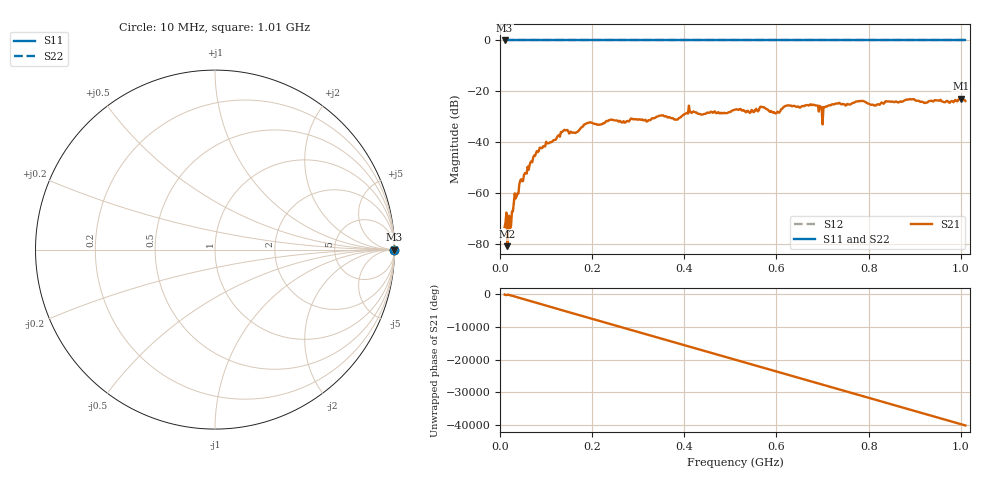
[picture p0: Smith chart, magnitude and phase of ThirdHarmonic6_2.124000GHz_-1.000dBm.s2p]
! 8/17/2025 1:23:29 AM
! C:\ANRITSUVNA\TEMP\TEMP.S2P
! CHANNEL.1
! TR.MEASUREMENT
! RAW.DATA
! RF.CORRECTION.OFF
! AVERAGING.OFF
! IF.BANDWIDTH: 5KHZ
! SWEEPTYPE:  FREQ.SWEEP(Linear)
! Reference Plane Port Info
! PORT:  PORT1  PORT2
! DISTANCE:  0  m  0  m
! TIME:  0  s  0  s
! PHASE.OFFSET:  0  deg.  0  deg.
! LOSS:  0  dB  0  dB
! REF.LOSS:  0  dB  0  dB
! REF.FREQ:  0  Hz  0  Hz
! Power Info
! POWER:  -20  dBm  -20  dBm
! EFF.POWER:  -20  dBm  -20  dBm
! SOURCE.ATTEN:  0  dB  0  dB
! TEST.ATTEN:  0  dB  0  dB
# GHZ S RI R 50.0
! FREQ.GHZ  S11RE  S11IM  S21RE  S21IM  S12RE  S12IM  S22RE  S22IM
!; PortSelection: Port_12
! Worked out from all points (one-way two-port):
!   501 points, 10 MHz to 1.01 GHz, reference 50 ohm
!   highest |S21| = -22.88 dB at 1 GHz (marker M1); lowest = -80.9 dB at 16 MHz (marker M2)
!   lowest |S11| = 0.0 dB at 10 MHz (marker M3)
!   |S11| at or under -10 dB: nowhere
!   |S22| runs from 0.0 to 0.0 dB; largest |S21 - S12| = 1.1
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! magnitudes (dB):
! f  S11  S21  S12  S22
! 10 MHz  0.0  -73.4  0.0  0.0
! 16 MHz  0.0  -80.9  0.0  0.0
! 20 MHz  0.0  -69.0  0.0  0.0
! 30 MHz  0.0  -63.9  0.0  0.0
! 42 MHz  0.0  -56.4  0.0  0.0
! 76 MHz  0.0  -45.4  0.0  0.0
! 136 MHz  0.0  -35.8  0.0  0.0
! 164 MHz  0.0  -36.4  0.0  0.0
! 178 MHz  0.0  -34.0  0.0  0.0
! 344 MHz  0.0  -29.7  0.0  0.0
! 382 MHz  0.0  -31.2  0.0  0.0
! 414 MHz  0.0  -28.3  0.0  0.0
! 510 MHz  0.0  -27.2  0.0  0.0
! 568 MHz  0.0  -26.2  0.0  0.0
! 602 MHz  0.0  -28.0  0.0  0.0
! 622 MHz  0.0  -25.6  0.0  0.0
! 678 MHz  0.0  -25.3  0.0  0.0
! 696 MHz  0.0  -26.1  0.0  0.0
! 732 MHz  0.0  -24.8  0.0  0.0
! 844 MHz  0.0  -23.9  0.0  0.0
! 1 GHz  0.0  -22.9  0.0  0.0
! 1.01 GHz  0.0  -23.8  0.0  0.0
